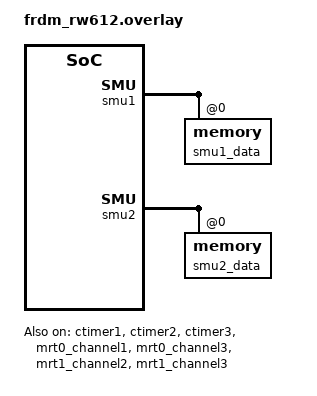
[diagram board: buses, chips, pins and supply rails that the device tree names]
/*
 * Copyright 2024 NXP
 *
 * SPDX-License-Identifier: Apache-2.0
 */

&ctimer1 {
	status = "okay";
};

&ctimer2 {
	status = "okay";
};

&ctimer3 {
	status = "okay";
};

&mrt0_channel1 {
	status = "okay";
};

&mrt0_channel3 {
	status = "okay";
};

&mrt1_channel2 {
	status = "okay";
};

&mrt1_channel3 {
	status = "okay";
};

/*
 * For testing purposes, free up memory spaces not needed by the testing.
 */
&smu1 {
	smu1_data: memory@0 {
		/delete-property/ zephyr,memory-attr;
	};
};

&smu2 {
	smu2_data: memory@0 {
		/delete-property/ zephyr,memory-attr;
	};
};
